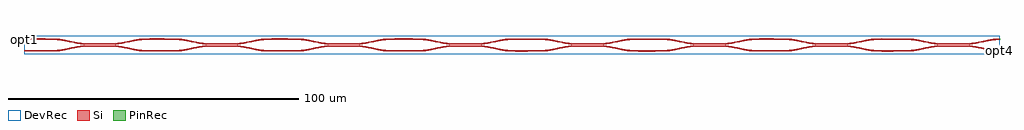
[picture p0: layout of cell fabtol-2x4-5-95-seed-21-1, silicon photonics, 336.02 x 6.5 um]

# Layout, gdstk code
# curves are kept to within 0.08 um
import gdstk
lib = gdstk.Library(unit=1e-6, precision=1e-09)
def R(c, l, rs):  # rectangles x0, y0, x1, y1
    for r in rs: c.add(gdstk.rectangle(r[:2], r[2:], *l))
def P(c, l, *ps):  # polygons
    for p in ps: c.add(gdstk.Polygon(p, *l))
Si = (1, 0)
PinRec = (1, 10)
DevRec = (68, 0)

layer_3_0_phase_sec_3_30 = lib.new_cell('layer-3_0_phase_sec_3$30')
P(layer_3_0_phase_sec_3_30, Si, [(2.642,-0.242),(0,-0.225),(0,0.225),(10,0.225),(10,-0.225)])

layer_3_0_phase_sec_2_30 = lib.new_cell('layer-3_0_phase_sec_2$30')
P(layer_3_0_phase_sec_2_30, Si, [(1.267,-0.237),(0,-0.225),(0,0.225),(10,0.225),(10,-0.225)])

layer_3_0_phase_sec_1_30 = lib.new_cell('layer-3_0_phase_sec_1$30')
P(layer_3_0_phase_sec_1_30, Si, [(1.428,-0.234),(0,-0.225),(0,0.225),(10,0.225),(10,-0.225)])

layer_3_0_phase_sec_0_30 = lib.new_cell('layer-3_0_phase_sec_0$30')
P(layer_3_0_phase_sec_0_30, Si, [(1.208,-0.246),(0,-0.225),(0,0.225),(10,0.225),(10,-0.225)])

layer_2_0_phase_sec_1_30 = lib.new_cell('layer-2_0_phase_sec_1$30')
P(layer_2_0_phase_sec_1_30, Si, [(4.344,-0.247),(0,-0.225),(0,0.225),(10,0.225),(10,-0.225)])

layer_0_0_phase_sec_1_30 = lib.new_cell('layer-0_0_phase_sec_1$30')
P(layer_0_0_phase_sec_1_30, Si, [(3.17,-0.227),(0,-0.225),(0,0.225),(10,0.225),(10,-0.225)])

dc_arm_down_30 = lib.new_cell('dc_arm_down$30')
R(dc_arm_down_30, Si, [(12,-0.55,20,-0.1)])
P(dc_arm_down_30, Si, [(32,-2.225),(30.861,-2.188),(29.344,-2.033),(22.966,-0.793),(21.481,-0.613),(20,-0.55),(20,-0.1),(21.139,-0.137),(22.656,-0.292),(29.034,-1.532),(30.519,-1.712),(32,-1.775)],
  [(0,-2.225),(0,-1.775),(1.481,-1.712),(2.966,-1.532),(9.344,-0.292),(10.861,-0.137),(12,-0.1),(12,-0.55),(10.519,-0.613),(9.034,-0.793),(2.656,-2.033),(1.139,-2.188)])

dc_arm_up_30 = lib.new_cell('dc_arm_up$30')
R(dc_arm_up_30, Si, [(12,0.1,20,0.55)])
P(dc_arm_up_30, Si, [(20,0.1),(20,0.55),(21.481,0.613),(22.966,0.793),(29.344,2.033),(30.861,2.188),(32,2.225),(32,1.775),(30.519,1.712),(29.034,1.532),(22.656,0.292),(21.139,0.137)],
  [(12,0.1),(10.861,0.137),(9.344,0.292),(2.966,1.532),(1.481,1.712),(0,1.775),(0,2.225),(1.139,2.188),(2.656,2.033),(9.034,0.793),(10.519,0.613),(12,0.55)])

dc_30 = lib.new_cell('dc$30')
dc_30.add(gdstk.Reference(dc_arm_down_30, (0,0)))
dc_30.add(gdstk.Reference(dc_arm_up_30, (0,0)))

layer_0_0_phase_sec_2_30 = lib.new_cell('layer-0_0_phase_sec_2$30')
P(layer_0_0_phase_sec_2_30, Si, [(1.251,-0.246),(0,-0.225),(0,0.225),(10,0.225),(10,-0.225)])

layer_0_0_phase_sec_3_30 = lib.new_cell('layer-0_0_phase_sec_3$30')
P(layer_0_0_phase_sec_3_30, Si, [(1.392,-0.23),(0,-0.225),(0,0.225),(10,0.225),(10,-0.225)])

layer_1_0_phase_sec_0_30 = lib.new_cell('layer-1_0_phase_sec_0$30')
P(layer_1_0_phase_sec_0_30, Si, [(6.809,-0.244),(0,-0.225),(0,0.225),(10,0.225),(10,-0.225)])

layer_1_0_phase_sec_1_30 = lib.new_cell('layer-1_0_phase_sec_1$30')
P(layer_1_0_phase_sec_1_30, Si, [(7.736,-0.233),(0,-0.225),(0,0.225),(10,0.225),(10,-0.225)])

layer_2_0_phase_sec_2_30 = lib.new_cell('layer-2_0_phase_sec_2$30')
P(layer_2_0_phase_sec_2_30, Si, [(3.323,-0.229),(0,-0.225),(0,0.225),(10,0.225),(10,-0.225)])

layer_1_0_phase_sec_2_30 = lib.new_cell('layer-1_0_phase_sec_2$30')
P(layer_1_0_phase_sec_2_30, Si, [(4.664,-0.247),(0,-0.225),(0,0.225),(10,0.225),(10,-0.225)])

layer_2_0_phase_sec_3_30 = lib.new_cell('layer-2_0_phase_sec_3$30')
P(layer_2_0_phase_sec_3_30, Si, [(4.412,-0.25),(0,-0.225),(0,0.225),(10,0.225),(10,-0.225)])

layer_1_0_phase_sec_3_30 = lib.new_cell('layer-1_0_phase_sec_3$30')
P(layer_1_0_phase_sec_3_30, Si, [(4.178,-0.23),(0,-0.225),(0,0.225),(10,0.225),(10,-0.225)])

layer_0_0_phase_sec_0_30 = lib.new_cell('layer-0_0_phase_sec_0$30')
P(layer_0_0_phase_sec_0_30, Si, [(1.47,-0.242),(0,-0.225),(0,0.225),(10,0.225),(10,-0.225)])

layer_2_0_phase_sec_0_30 = lib.new_cell('layer-2_0_phase_sec_0$30')
P(layer_2_0_phase_sec_0_30, Si, [(7.442,-0.232),(0,-0.225),(0,0.225),(10,0.225),(10,-0.225)])

fabtol_2x4_5_95_seed_21_ = lib.new_cell('fabtol-2x4-5-95-seed-21-1')
R(fabtol_2x4_5_95_seed_21_, DevRec, [(0,-1,336,5.497)])
fabtol_2x4_5_95_seed_21_.add(gdstk.FlexPath([(335.99,0.25),(336.01,0.25)], 0.45, ends="flush", simple_path=True, layer=1, datatype=10))  # PinRec
fabtol_2x4_5_95_seed_21_.add(gdstk.FlexPath([(335.99,4.25),(336.01,4.25)], 0.45, ends="flush", simple_path=True, layer=1, datatype=10))  # PinRec
fabtol_2x4_5_95_seed_21_.add(gdstk.FlexPath([(0.01,4.25),(-0.01,4.25)], 0.45, ends="flush", simple_path=True, layer=1, datatype=10))  # PinRec
fabtol_2x4_5_95_seed_21_.add(gdstk.Reference(layer_3_0_phase_sec_3_30, (294,0.25)))
fabtol_2x4_5_95_seed_21_.add(gdstk.Reference(layer_3_0_phase_sec_2_30, (294,4.25)))
fabtol_2x4_5_95_seed_21_.add(gdstk.Reference(layer_3_0_phase_sec_1_30, (252,0.25)))
fabtol_2x4_5_95_seed_21_.add(gdstk.Reference(layer_3_0_phase_sec_0_30, (252,4.25)))
fabtol_2x4_5_95_seed_21_.add(gdstk.Reference(layer_2_0_phase_sec_1_30, (168,0.25)))
fabtol_2x4_5_95_seed_21_.add(gdstk.Reference(layer_0_0_phase_sec_1_30, (0,0.25)))
fabtol_2x4_5_95_seed_21_.add(gdstk.Reference(dc_30, (10,2.25)))
fabtol_2x4_5_95_seed_21_.add(gdstk.Reference(dc_30, (52,2.25)))
fabtol_2x4_5_95_seed_21_.add(gdstk.Reference(dc_30, (94,2.25)))
fabtol_2x4_5_95_seed_21_.add(gdstk.Reference(dc_30, (136,2.25)))
fabtol_2x4_5_95_seed_21_.add(gdstk.Reference(dc_30, (178,2.25)))
fabtol_2x4_5_95_seed_21_.add(gdstk.Reference(dc_30, (220,2.25)))
fabtol_2x4_5_95_seed_21_.add(gdstk.Reference(dc_30, (262,2.25)))
fabtol_2x4_5_95_seed_21_.add(gdstk.Reference(dc_30, (304,2.25)))
fabtol_2x4_5_95_seed_21_.add(gdstk.Reference(layer_0_0_phase_sec_2_30, (42,4.25)))
fabtol_2x4_5_95_seed_21_.add(gdstk.Reference(layer_0_0_phase_sec_3_30, (42,0.25)))
fabtol_2x4_5_95_seed_21_.add(gdstk.Reference(layer_1_0_phase_sec_0_30, (84,4.25)))
fabtol_2x4_5_95_seed_21_.add(gdstk.Reference(layer_1_0_phase_sec_1_30, (84,0.25)))
fabtol_2x4_5_95_seed_21_.add(gdstk.Reference(layer_2_0_phase_sec_2_30, (210,4.25)))
fabtol_2x4_5_95_seed_21_.add(gdstk.Reference(layer_1_0_phase_sec_2_30, (126,4.25)))
fabtol_2x4_5_95_seed_21_.add(gdstk.Reference(layer_2_0_phase_sec_3_30, (210,0.25)))
fabtol_2x4_5_95_seed_21_.add(gdstk.Reference(layer_1_0_phase_sec_3_30, (126,0.25)))
fabtol_2x4_5_95_seed_21_.add(gdstk.Reference(layer_0_0_phase_sec_0_30, (0,4.25)))
fabtol_2x4_5_95_seed_21_.add(gdstk.Reference(layer_2_0_phase_sec_0_30, (168,4.25)))
fabtol_2x4_5_95_seed_21_.add(gdstk.Label('opt4', (336,0.25), layer=1, texttype=10))
fabtol_2x4_5_95_seed_21_.add(gdstk.Label('opt3', (336,4.25), layer=1, texttype=10))
fabtol_2x4_5_95_seed_21_.add(gdstk.Label('opt1', (0,4.25), layer=1, texttype=10))

lib.write_gds('fabtol-2x4-5-95-seed-21-1.gds')
